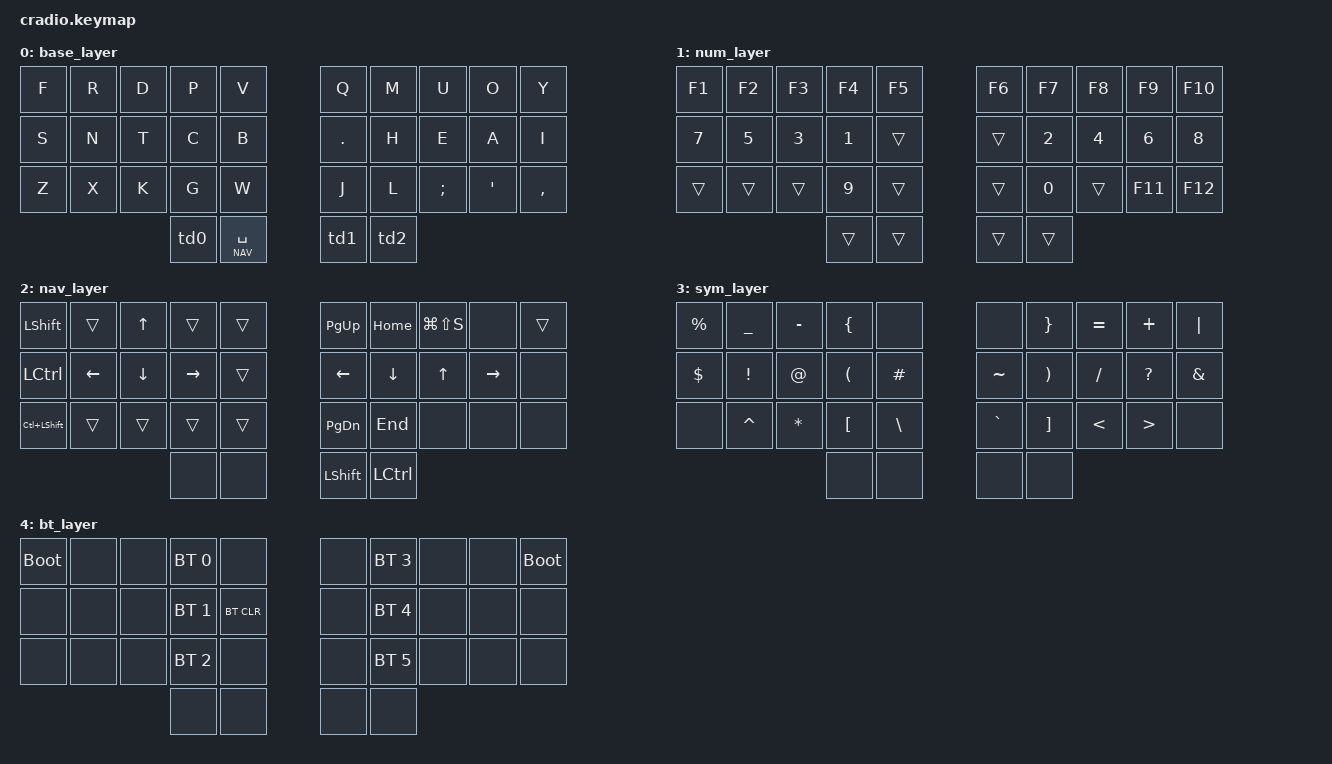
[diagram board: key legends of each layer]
/*
 * Copyright (c) 2020 The ZMK Contributors
 *
 * SPDX-License-Identifier: MIT
 */

#include <behaviors.dtsi>
#include <dt-bindings/zmk/keys.h>
#include <dt-bindings/zmk/bt.h>


// Layer definitions
    #define BASE 0
    #define NUM 1
    #define NAV 2
    #define SYM 3
    #define BT 4


&mt {
    flavor = "tap-preferred";
    tapping_term_ms = <200>;
};

/ {
	combos {
        	compatible = "zmk,combos";
        	combo_esc {
            		timeout-ms = <50>;
            		key-positions = <0 1>;
           		bindings = <&kp ESC>;
      		};
		
         	combo_tab {
           		timeout-ms = <50>;
            		key-positions = <1 2>;
            		bindings = <&kp TAB>;
		};
		
		combo_del {
			timeout-ms = <50>;
			key-positions = <28 29>;
			bindings = <&kp DEL>;
		};
		
		combo_ret {
            		timeout-ms = <50>;
            		key-positions = <16 17>;
           		bindings = <&kp ENTER>;
		};

		combo_ret2 {
            		timeout-ms = <50>;
            		key-positions = <12 13>;
           		bindings = <&kp ENTER>;
		};

		combo_bt {
			timeout-ms = <50>;
			key-positions = <30 31 32 33>;
			bindings = <&mo BT>;
		};
		
		combo_bksp {
            		timeout-ms = <50>;
            		key-positions = <7 8>;
           		bindings = <&kp BSPC>;
		};

		combo_cbksp {
            		timeout-ms = <50>;
            		key-positions = <16 17 18>;
           		bindings = <&kp LC(BSPC)>;
		};
		
		combo_lctrl {
            		timeout-ms = <50>;
            		key-positions = <11 12>;
           		bindings = <&sk LCTRL>;
		};

		combo_lshft {
            		timeout-ms = <50>;
            		key-positions = <10 11>;
           		bindings = <&sk LSHFT>;
		};
		
		combo_rctrl {
            		timeout-ms = <50>;
            		key-positions = <17 18>;
           		bindings = <&sk RCTRL>;
		};

		combo_rshft {
            		timeout-ms = <50>;
            		key-positions = <18 19>;
           		bindings = <&sk RSHFT>;
		};

		combo_clock {
            		timeout-ms = <50>;
            		key-positions = <21 22>;
           		bindings = <&kp CAPSLOCK>;
		};
	};

	behaviors {
        	td0: tap_dance_0 {
            	compatible = "zmk,behavior-tap-dance";
            	#binding-cells = <0>;
            	tapping-term-ms = <200>;
            	bindings = <&mo SYM>, <&sk LGUI>;
        	};

		td1: tap_dance_1 {
            	compatible = "zmk,behavior-tap-dance";
            	#binding-cells = <0>;
            	tapping-term-ms = <200>;
            	bindings = <&mo NUM>, <&sk RALT>;
        	};

		td2: tap_dance_2 {
            	compatible = "zmk,behavior-tap-dance";
            	#binding-cells = <0>;
            	tapping-term-ms = <200>;
            	bindings = <&kp LC(V)>, <&kp LC(C)>, <&kp LC(X)>;
        	};
    	};

        keymap {
                compatible = "zmk,keymap";
                
       		base_layer {
		    bindings = <
		        &kp F 	&kp R 	&kp D 	&kp P 	&kp V		&kp Q 	&kp M 	&kp U 	&kp O 	&kp Y
			&kp S 	&kp N 	&kp T 	&kp C 	&kp B		&kp DOT	&kp H 	&kp E 	&kp A 	&kp I
			&kp Z	&kp X 	&kp K 	&kp G	&kp W		&kp J 	&kp L 	&kp SEMI &kp SQT &kp COMMA
			                  	&td0 	&lt NAV SPACE	&td1 	&td2
		    >;
		};

       		num_layer {
		    bindings = <
			&kp F1	&kp F2 	&kp F3 	&kp F4 	&kp F5		&kp F6 	&kp F7 	&kp F8 	&kp F9 	&kp F10	
			&kp N7	&kp N5	&kp N3	&kp N1	&trans		&trans	&kp N2	&kp N4	&kp N6	&kp N8	
			&trans	&trans	&trans	&kp N9	&trans		&trans	&kp N0	&trans	&kp F11	&kp F12
						&trans	&trans		&trans	&trans	
		    >;
		};
		
		nav_layer {
		    bindings = <
			&kp LSHFT &trans &kp UP	&trans	&trans		&kp PG_UP &kp HOME &kp LG(LS(S)) &none &trans
			&kp LCTRL &kp LEFT &kp DOWN &kp RIGHT &trans	&kp LEFT &kp DOWN &kp UP &kp RIGHT &none
			&kp LC(LSHFT) &trans &trans &trans &trans	&kp PG_DN &kp END &none &none &none
						&none 	&none		&kp LSHFT &kp LCTRL
		    >;
		};

		sym_layer {
		    bindings = <
			&kp PRCNT &kp UNDER &kp MINUS &kp LBRC &none	&none &kp RBRC &kp EQUAL &kp PLUS &kp PIPE
			&kp DLLR &kp EXCL &kp AT &kp LPAR &kp HASH 	&kp TILDE &kp RPAR &kp FSLH &kp QMARK &kp AMPS
			&none &kp CARET &kp STAR &kp LBKT &kp BSLH	&kp GRAVE &kp RBKT &kp LT &kp GT &none
						&none	&none		&none	&none
		    >;
		};

		bt_layer {
		    bindings = <
			&bootloader &none &none &bt BT_SEL 0 &none	&none &bt BT_SEL 3 &none &none &bootloader
			&none &none &none &bt BT_SEL 1 &bt BT_CLR	&none &bt BT_SEL 4 &none &none &none
			&none &none &none &bt BT_SEL 2 &none		&none &bt BT_SEL 5 &none &none &none
						&none &none		&none &none
		    >;
		};

	};
};
